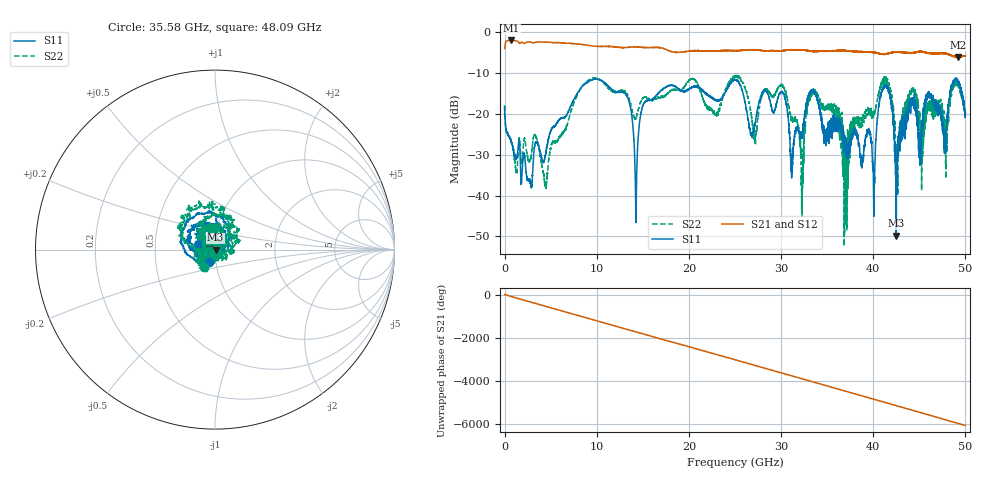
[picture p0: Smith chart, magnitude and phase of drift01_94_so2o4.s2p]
!Created with skrf (http://scikit-rf.org).
# Hz S RI R 50.0
!freq ReS11 ImS11 ReS21 ImS21 ReS12 ImS12 ReS22 ImS22
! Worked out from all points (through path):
!   10001 points, 300 kHz to 50 GHz, reference 50 ohm
!   highest |S21| = -2.00 dB at 710.3 MHz (marker M1); lowest = -6.1 dB at 49.19 GHz (marker M2)
!   group delay of S21, straight-line fit = 336 ps
!   lowest |S11| = -49.9 dB at 42.47 GHz (marker M3), VSWR 1.01, Z = 50.3 - j0.0141 ohm
!   |S11| at or under -10 dB: start of sweep to end of sweep
!   |S22| runs from -52.4 to -10.6 dB; largest |S21 - S12| = 0.024
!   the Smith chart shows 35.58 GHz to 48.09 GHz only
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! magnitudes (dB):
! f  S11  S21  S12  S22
! 300 kHz  -18.2  -4.0  -4.0  -17.9
! 710.3 MHz  -26.7  -2.0  -2.0  -26.8
! 4.445 GHz  -29.9  -2.4  -2.4  -37.3
! 8.335 GHz  -13.5  -3.0  -3.0  -13.5
! 13.17 GHz  -15.2  -3.7  -3.7  -14.7
! 14.26 GHz  -46.0  -3.6  -3.6  -21.1
! 16.67 GHz  -14.9  -3.7  -3.7  -15.9
! 25 GHz  -11.6  -4.5  -4.5  -11.0
! 27.15 GHz  -22.5  -4.3  -4.3  -26.1
! 30.2 GHz  -15.0  -4.5  -4.5  -13.4
! 31.15 GHz  -35.7  -4.3  -4.3  -21.0
! 32.25 GHz  -25.0  -4.3  -4.3  -36.3
! 33.34 GHz  -14.2  -4.6  -4.6  -14.4
! 36.06 GHz  -21.8  -4.4  -4.5  -20.2
! 37.03 GHz  -26.9  -4.5  -4.5  -30.8
! 40.07 GHz  -42.3  -4.9  -5.0  -19.9
! 41.67 GHz  -14.4  -5.1  -5.1  -12.3
! 42.47 GHz  -49.9  -4.8  -4.8  -31.5
! 44.14 GHz  -17.3  -5.0  -5.0  -14.4
! 45.33 GHz  -22.7  -4.7  -4.7  -25.5
! 49.19 GHz  -11.9  -6.1  -5.9  -12.7
! 50 GHz  -19.8  -5.8  -5.8  -19.8
